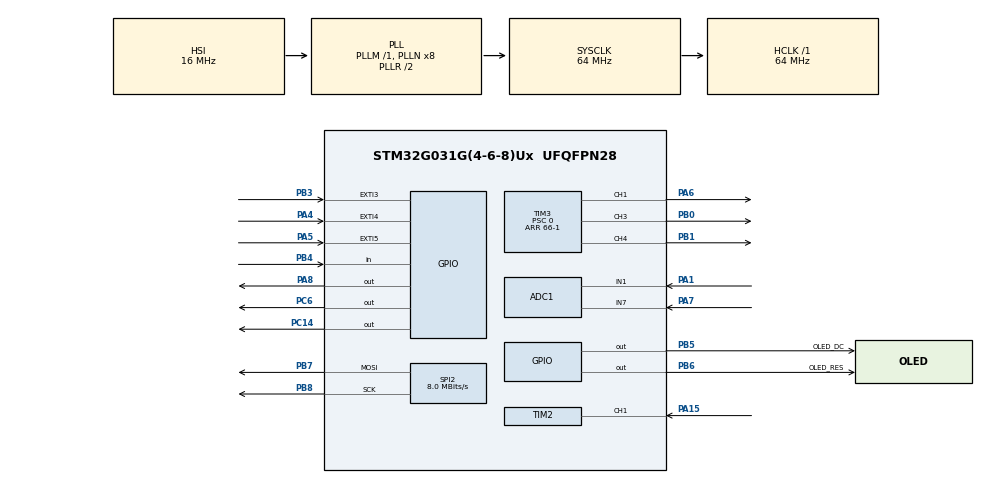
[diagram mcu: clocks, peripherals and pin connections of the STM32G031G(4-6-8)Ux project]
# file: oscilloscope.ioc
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ADC1.Channel-5\#ChannelRegularConversion=ADC_CHANNEL_1
ADC1.Channel-6\#ChannelRegularConversion=ADC_CHANNEL_7
ADC1.ContinuousConvMode=DISABLE
ADC1.DMAContinuousRequests=ENABLE
ADC1.ExternalTrigConv=ADC_EXTERNALTRIG_T1_TRGO2
ADC1.ExternalTrigConvEdge=ADC_EXTERNALTRIGCONVEDGE_RISINGFALLING
ADC1.NbrOfConversion=2
ADC1.NbrOfConversionFlag=1
ADC1.Rank-5\#ChannelRegularConversion=1
ADC1.Rank-6\#ChannelRegularConversion=2
ADC1.SamplingTime-5\#ChannelRegularConversion=ADC_SAMPLINGTIME_COMMON_1
ADC1.SamplingTime-6\#ChannelRegularConversion=ADC_SAMPLINGTIME_COMMON_1
ADC1.SamplingTimeCommon1=ADC_SAMPLETIME_1CYCLE_5
ADC1.SamplingTimeCommon2=ADC_SAMPLETIME_1CYCLE_5
ADC1.SelectedChannel=ADC_CHANNEL_1|ADC_CHANNEL_7
ADC1.master=1
Dma.ADC1.0.Direction=DMA_PERIPH_TO_MEMORY
Dma.ADC1.0.EventEnable=DISABLE
Dma.ADC1.0.Instance=DMA1_Channel1
Dma.ADC1.0.MemDataAlignment=DMA_MDATAALIGN_HALFWORD
Dma.ADC1.0.MemInc=DMA_MINC_ENABLE
Dma.ADC1.0.Mode=DMA_CIRCULAR
Dma.ADC1.0.PeriphDataAlignment=DMA_PDATAALIGN_HALFWORD
Dma.ADC1.0.PeriphInc=DMA_PINC_DISABLE
Dma.ADC1.0.Polarity=HAL_DMAMUX_REQ_GEN_RISING
Dma.ADC1.0.Priority=DMA_PRIORITY_VERY_HIGH
Dma.ADC1.0.RequestNumber=1
Dma.ADC1.0.SignalID=NONE
Dma.ADC1.0.SyncEnable=DISABLE
Dma.ADC1.0.SyncPolarity=HAL_DMAMUX_SYNC_NO_EVENT
Dma.ADC1.0.SyncRequestNumber=1
Dma.ADC1.0.SyncSignalID=NONE
Dma.Request0=ADC1
Mcu.Family=STM32G0
Mcu.Name=STM32G031G(4-6-8)Ux
Mcu.Package=UFQFPN28
NVIC.ADC1_IRQn=true\:0\:0\:false\:false\:true\:true\:true
NVIC.DMA1_Channel1_IRQn=true\:0\:0\:false\:false\:true\:false\:true
NVIC.EXTI2_3_IRQn=true\:1\:0\:true\:false\:true\:true\:true
NVIC.EXTI4_15_IRQn=true\:1\:0\:true\:false\:true\:true\:true
NVIC.TIM14_IRQn=true\:1\:0\:true\:false\:true\:true\:true
NVIC.TIM2_IRQn=true\:1\:0\:true\:false\:true\:true\:true
PA1.Mode=IN1
PA1.Signal=ADC1_IN1
PA13.Mode=Serial_Wire
PA13.Signal=SYS_SWDIO
PA14-BOOT0.Mode=Serial_Wire
PA14-BOOT0.Signal=SYS_SWCLK
PA15.GPIO_Speed=GPIO_SPEED_FREQ_VERY_HIGH
PA15.Signal=S_TIM2_CH1_ETR
PA4.GPIO_ModeDefaultEXTI=GPIO_MODE_IT_FALLING
PA4.GPIO_PuPd=GPIO_PULLUP
PA4.Signal=GPXTI4
PA5.GPIO_ModeDefaultEXTI=GPIO_MODE_IT_FALLING
PA5.GPIO_PuPd=GPIO_PULLUP
PA5.Signal=GPXTI5
PA6.GPIO_Speed=GPIO_SPEED_FREQ_VERY_HIGH
PA6.Signal=S_TIM3_CH1
PA7.Mode=IN7
PA7.Signal=ADC1_IN7
PA8.GPIO_Speed=GPIO_SPEED_FREQ_HIGH
PA8.Signal=GPIO_Output
PB0.Signal=S_TIM3_CH3
PB1.GPIO_Speed=GPIO_SPEED_FREQ_VERY_HIGH
PB1.Signal=S_TIM3_CH4
PB3.GPIO_ModeDefaultEXTI=GPIO_MODE_IT_FALLING
PB3.GPIO_PuPd=GPIO_PULLUP
PB3.Signal=GPXTI3
PB4.Signal=GPIO_Input
PB5.GPIO_Label=OLED_DC
PB5.GPIO_Speed=GPIO_SPEED_FREQ_VERY_HIGH
PB5.Signal=GPIO_Output
PB6.GPIO_Label=OLED_RES
PB6.GPIO_Speed=GPIO_SPEED_FREQ_VERY_HIGH
PB6.Signal=GPIO_Output
PB7.GPIO_Speed=GPIO_SPEED_FREQ_VERY_HIGH
PB7.Mode=TX_Only_Simplex_Unidirect_Master
PB7.Signal=SPI2_MOSI
PB8.GPIO_Speed=GPIO_SPEED_FREQ_VERY_HIGH
PB8.Mode=TX_Only_Simplex_Unidirect_Master
PB8.Signal=SPI2_SCK
PC14-OSC32_IN\ (PC14).PinState=GPIO_PIN_RESET
PC14-OSC32_IN\ (PC14).Signal=GPIO_Output
PC6.GPIO_Speed=GPIO_SPEED_FREQ_HIGH
PC6.Signal=GPIO_Output
ProjectManager.HeapSize=0x200
ProjectManager.StackSize=0x400
ProjectManager.TargetToolchain=STM32CubeIDE
RCC.ADCFreq_Value=64000000
RCC.AHBFreq_Value=64000000
RCC.CortexFreq_Value=64000000
RCC.EXTERNAL_CLOCK_VALUE=12288000
RCC.HCLKFreq_Value=64000000
RCC.HSE_VALUE=8000000
RCC.HSI_VALUE=16000000
RCC.LSE_VALUE=32768
RCC.SYSCLKFreq_VALUE=64000000
RCC.SYSCLKSource=RCC_SYSCLKSOURCE_PLLCLK
RCC.VCOOutputFreq_Value=128000000
SH.S_TIM2_CH1_ETR.0=TIM2_CH1,Input_Capture1_from_TI1
SH.S_TIM3_CH1.0=TIM3_CH1,PWM Generation1 CH1
SH.S_TIM3_CH3.0=TIM3_CH3,PWM Generation3 CH3
SH.S_TIM3_CH4.0=TIM3_CH4,PWM Generation4 CH4
SPI2.BaudRatePrescaler=SPI_BAUDRATEPRESCALER_8
SPI2.CLKPhase=SPI_PHASE_2EDGE
SPI2.CLKPolarity=SPI_POLARITY_HIGH
SPI2.CalculateBaudRate=8.0 MBits/s
SPI2.Direction=SPI_DIRECTION_2LINES
SPI2.Mode=SPI_MODE_MASTER
SPI2.VirtualType=VM_MASTER
TIM1.AutoReloadPreload=TIM_AUTORELOAD_PRELOAD_ENABLE
TIM1.Period=2000-1
TIM1.TIM_MasterOutputTrigger2=TIM_TRGO2_UPDATE
TIM1.TIM_MasterSlaveMode=TIM_MASTERSLAVEMODE_ENABLE
TIM14.AutoReloadPreload=TIM_AUTORELOAD_PRELOAD_ENABLE
TIM14.Period=660
TIM2.AutoReloadPreload=TIM_AUTORELOAD_PRELOAD_ENABLE
TIM2.Channel-Input_Capture1_from_TI1=TIM_CHANNEL_1
TIM2.Channel-Input_Capture2_from_TI1_63=TIM_CHANNEL_2
TIM2.ICFilter_CH1=15
TIM2.ICPolarity_CH1=TIM_INPUTCHANNELPOLARITY_RISING
TIM2.ICPolarity_CH2=TIM_INPUTCHANNELPOLARITY_FALLING
TIM2.Period=10000-1
TIM2.Prescaler=128-1
TIM3.AutoReloadPreload=TIM_AUTORELOAD_PRELOAD_ENABLE
TIM3.Channel-PWM\ Generation1\ CH1=TIM_CHANNEL_1
TIM3.Channel-PWM\ Generation3\ CH3=TIM_CHANNEL_3
TIM3.Channel-PWM\ Generation4\ CH4=TIM_CHANNEL_4
TIM3.Period=66-1
TIM3.Prescaler=0
TIM3.Pulse-PWM\ Generation1\ CH1=22
TIM3.Pulse-PWM\ Generation4\ CH4=22
VP_IWDG_VS_IWDG.Mode=IWDG_Activate
VP_TIM14_VS_ClockSourceINT.Mode=Enable_Timer
VP_TIM1_VS_ClockSourceINT.Mode=Internal
VP_TIM2_VS_ClockSourceINT.Mode=Internal
VP_TIM2_VS_indirect_ch1.Mode=Input_Capture2_from_TI1_63
VP_TIM3_VS_ClockSourceINT.Mode=Internal
board=custom

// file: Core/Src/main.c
/* USER CODE BEGIN Header */
/**
  ******************************************************************************
  * @file           : main.c
  * @brief          : Main program body
  ******************************************************************************
  * @attention
  *
  * Copyright (c) 2022 STMicroelectronics.
  * All rights reserved.
  *
  * This software is licensed under terms that can be found in the LICENSE file
  * in the root directory of this software component.
  * If no LICENSE file comes with this software, it is provided AS-IS.
  *
  ******************************************************************************
  */
/* USER CODE END Header */
#include "main.h"
#include "adc.h"
#include "dma.h"
#include "iwdg.h"
#include "spi.h"
#include "tim.h"
#include "gpio.h"

/* USER CODE BEGIN Includes */
#include "oled.h"
#include "keyfilter.h"
#include "wave_task.h"
#include "spectrum.h"

/* USER CODE END Includes */

/* USER CODE BEGIN PV */

uint16_t ADC_Value_buffer1[2][SAVE_SPACE];
uint8_t ADC_buffer_flag=0;

uint32_t times=0;
extern uint32_t count1;
extern float hz;
extern int time;
/* USER CODE END PV */

void SystemClock_Config(void);

int main(void)
{

  /* MCU Configuration--------------------------------------------------------*/

  /* Reset of all peripherals, Initializes the Flash interface and the Systick. */
  HAL_Init();

  /* Configure the system clock */
  SystemClock_Config();

  /* Initialize all configured peripherals */
  MX_GPIO_Init();
  MX_SPI2_Init();
  MX_TIM2_Init();
  MX_TIM3_Init();
  MX_ADC1_Init();
  MX_DMA_Init();
  MX_TIM1_Init();
  MX_TIM14_Init();
  MX_IWDG_Init();
  /* USER CODE BEGIN 2 */
  OLED_Init();

  OLED_Refresh();
  HAL_GPIO_WritePin(GPIOC, 14, GPIO_PIN_RESET);
  HAL_TIM_IC_Start_IT(&htim2, TIM_CHANNEL_1);
  HAL_TIM_IC_Start_IT(&htim2, TIM_CHANNEL_2);
  HAL_TIM_PWM_Start(&htim3, TIM_CHANNEL_1);
  HAL_TIM_PWM_Start(&htim3, TIM_CHANNEL_3);
  HAL_TIM_PWM_Start(&htim3, TIM_CHANNEL_4);
  HAL_TIM_Base_Start_IT(&htim14);
  HAL_TIM_Base_Start(&htim1);
  HAL_ADC_Start_DMA(&hadc1, (uint32_t*)&ADC_Value_buffer1, SAVE_SPACE*2);
  menu_init();

  /* USER CODE END 2 */

  /* Infinite loop */
  while (1)
  {

    /* USER CODE BEGIN 3 */
	  hz=(float)count1/HAL_GetTick()*2000*SAVE_SPACE;
	  key_filter_task();
		  wave_task();
		  show_menu();
	  spectrum_task();
	  OLED_Refresh();
	  times++;
	 // HAL_Delay(1);
  }
  /* USER CODE END 3 */
}

void SystemClock_Config(void)
{
  RCC_OscInitTypeDef RCC_OscInitStruct = {0};
  RCC_ClkInitTypeDef RCC_ClkInitStruct = {0};

  /** Configure the main internal regulator output voltage
  */
  HAL_PWREx_ControlVoltageScaling(PWR_REGULATOR_VOLTAGE_SCALE1);
  /** Initializes the RCC Oscillators according to the specified parameters
  * in the RCC_OscInitTypeDef structure.
  */
  RCC_OscInitStruct.OscillatorType = RCC_OSCILLATORTYPE_HSI|RCC_OSCILLATORTYPE_LSI;
  RCC_OscInitStruct.HSIState = RCC_HSI_ON;
  RCC_OscInitStruct.HSIDiv = RCC_HSI_DIV1;
  RCC_OscInitStruct.HSICalibrationValue = RCC_HSICALIBRATION_DEFAULT;
  RCC_OscInitStruct.LSIState = RCC_LSI_ON;
  RCC_OscInitStruct.PLL.PLLState = RCC_PLL_ON;
  RCC_OscInitStruct.PLL.PLLSource = RCC_PLLSOURCE_HSI;
  RCC_OscInitStruct.PLL.PLLM = RCC_PLLM_DIV1;
  RCC_OscInitStruct.PLL.PLLN = 8;
  RCC_OscInitStruct.PLL.PLLP = RCC_PLLP_DIV2;
  RCC_OscInitStruct.PLL.PLLQ = RCC_PLLQ_DIV2;
  RCC_OscInitStruct.PLL.PLLR = RCC_PLLR_DIV2;
  if (HAL_RCC_OscConfig(&RCC_OscInitStruct) != HAL_OK)
  {
    Error_Handler();
  }
  /** Initializes the CPU, AHB and APB buses clocks
  */
  RCC_ClkInitStruct.ClockType = RCC_CLOCKTYPE_HCLK|RCC_CLOCKTYPE_SYSCLK
                              |RCC_CLOCKTYPE_PCLK1;
  RCC_ClkInitStruct.SYSCLKSource = RCC_SYSCLKSOURCE_PLLCLK;
  RCC_ClkInitStruct.AHBCLKDivider = RCC_SYSCLK_DIV1;
  RCC_ClkInitStruct.APB1CLKDivider = RCC_HCLK_DIV1;

  if (HAL_RCC_ClockConfig(&RCC_ClkInitStruct, FLASH_LATENCY_2) != HAL_OK)
  {
    Error_Handler();
  }
}

/* USER CODE BEGIN 4 */
int test=0;
/* USER CODE END 4 */

void Error_Handler(void)
{
  __disable_irq();
  while (1)
  {
  }
}
